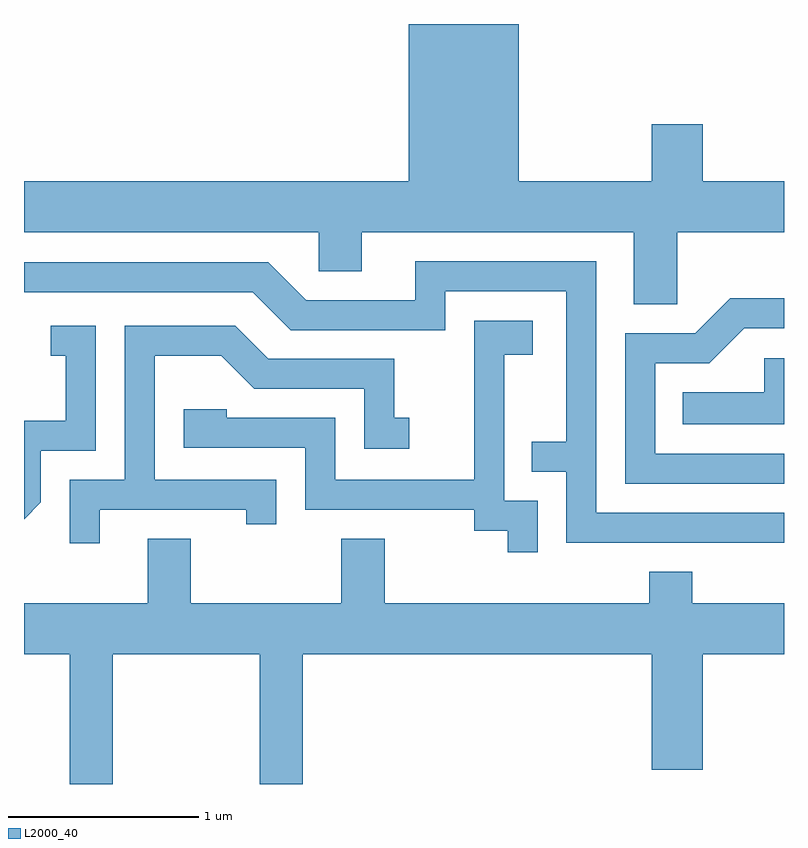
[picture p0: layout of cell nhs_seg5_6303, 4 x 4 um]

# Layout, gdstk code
import gdstk
lib = gdstk.Library(unit=1e-6, precision=1e-09)
def P(c, l, *ps):  # polygons
    for p in ps: c.add(gdstk.Polygon(p, *l))
L2000_40 = (2000, 40)

nhs_seg5_6303 = lib.new_cell('nhs_seg5_6303')
P(nhs_seg5_6303, L2000_40, [(375.049,1498.976),(375.611,1498.976),(375.611,1499.244),(375.184,1499.244),(375.184,1499.544),(374.916,1499.544),(374.916,1499.244),(374.214,1499.244),(374.214,1500.072),(373.636,1500.072),(373.636,1499.244),(371.611,1499.244),(371.611,1498.976),(373.161,1498.976),(373.161,1498.771),(373.389,1498.771),(373.389,1498.976),(374.821,1498.976),(374.821,1498.596),(375.049,1498.596)],
  [(375.611,1497.499),(374.624,1497.499),(374.624,1498.824),(373.671,1498.824),(373.671,1498.619),(373.097,1498.619),(372.897,1498.819),(371.611,1498.819),(371.611,1498.661),(372.814,1498.661),(373.014,1498.461),(373.829,1498.461),(373.829,1498.666),(374.466,1498.666),(374.466,1497.874),(374.283,1497.874),(374.283,1497.716),(374.466,1497.716),(374.466,1497.341),(375.611,1497.341)],
  [(375.611,1497.809),(374.934,1497.809),(374.934,1498.286),(375.217,1498.286),(375.402,1498.471),(375.611,1498.471),(375.611,1498.629),(375.329,1498.629),(375.144,1498.444),(374.776,1498.444),(374.776,1497.651),(375.611,1497.651)],
  [(374.314,1497.564),(374.139,1497.564),(374.139,1498.331),(374.289,1498.331),(374.289,1498.509),(373.981,1498.509),(373.981,1497.674),(373.249,1497.674),(373.249,1497.999),(372.679,1497.999),(372.679,1498.044),(372.451,1498.044),(372.451,1497.841),(373.091,1497.841),(373.091,1497.516),(373.981,1497.516),(373.981,1497.406),(374.156,1497.406),(374.156,1497.293),(374.314,1497.293)],
  [(371.699,1497.554),(371.699,1497.826),(371.989,1497.826),(371.989,1498.484),(371.753,1498.484),(371.753,1498.326),(371.831,1498.326),(371.831,1497.984),(371.611,1497.984),(371.611,1497.466)],
  [(372.009,1497.516),(372.781,1497.516),(372.781,1497.438),(372.939,1497.438),(372.939,1497.674),(372.299,1497.674),(372.299,1498.326),(372.649,1498.326),(372.824,1498.151),(373.401,1498.151),(373.401,1497.836),(373.638,1497.836),(373.638,1497.999),(373.559,1497.999),(373.559,1498.309),(372.897,1498.309),(372.722,1498.484),(372.141,1498.484),(372.141,1497.674),(371.851,1497.674),(371.851,1497.338),(372.009,1497.338)],
  [(375.611,1498.314),(375.506,1498.314),(375.506,1498.134),(375.078,1498.134),(375.078,1497.966),(375.611,1497.966)],
  [(372.079,1496.756),(372.851,1496.756),(372.851,1496.072),(373.079,1496.072),(373.079,1496.756),(374.916,1496.756),(374.916,1496.146),(375.184,1496.146),(375.184,1496.756),(375.611,1496.756),(375.611,1497.024),(375.129,1497.024),(375.129,1497.189),(374.901,1497.189),(374.901,1497.024),(373.509,1497.024),(373.509,1497.364),(373.281,1497.364),(373.281,1497.024),(372.489,1497.024),(372.489,1497.364),(372.261,1497.364),(372.261,1497.024),(371.611,1497.024),(371.611,1496.756),(371.851,1496.756),(371.851,1496.072),(372.079,1496.072)])

lib.write_gds('nhs_seg5_6303.gds')
